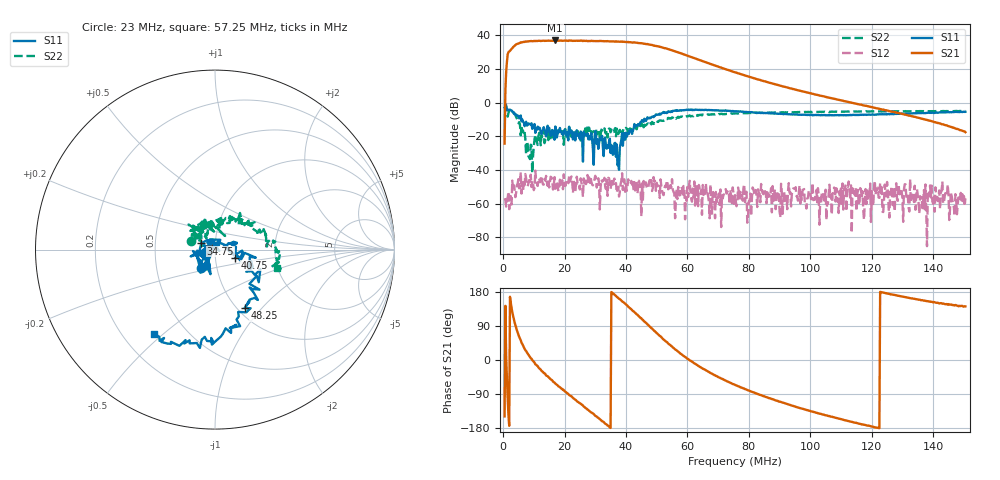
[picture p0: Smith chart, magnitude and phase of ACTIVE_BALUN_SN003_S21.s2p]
!Keysight Technologies N9926A: A.10.18
!Date: Monday, 29 June 2020 21:08:31
!Timezone:
!Model: N9926A
!Serial: MY57271140
!GPS Latitude:
!GPS Longitude:
!GPS TimeStamp: 0001-01-01 00:00:00Z
!GPS Seconds Since Last Read: 0
!CHECKSUM:1437879208
!Correction: S11(ON U)S21(ON U)S12(ON U)S22(ON U)
!S2P File: Measurements:S11,S21,S12,S22:
# Hz S DB R 50
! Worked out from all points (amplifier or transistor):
!   601 points, 500 kHz to 150.5 MHz, reference 50 ohm
!   highest |S21| = 37.0 dB at 17 MHz (marker M1)
!   |S21| within 3 dB of that: 3.821 MHz to 48.94 MHz (45.12 MHz wide, 171 % of centre)
!   unconditionally stable (mu >= 1): start of sweep to end of sweep
!   at 25.5 MHz: K = 1.76, MAG = 37.0 dB, |S12| = -47.2 dB
!   at 75.5 MHz: K = 18.91, MAG = 20.7 dB, |S12| = -55.0 dB
!   at 150.5 MHz: K = 1287.98, MAG = -14.4 dB, |S12| = -56.9 dB
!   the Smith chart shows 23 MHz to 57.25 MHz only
!   S11 on the Smith chart (normalised r, x): 23 MHz: 0.83, -0.18; 34.75 MHz: 0.85, +0.06; 40.75 MHz: 1.25, -0.11; 48.25 MHz: 1.08, -0.81; 57.25 MHz: 0.33, -0.47
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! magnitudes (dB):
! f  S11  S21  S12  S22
! 500 kHz  -2.9  -24.3  -56.8  -0.4
! 1.5 MHz  -4.3  28.7  -56.5  -8.3
! 2.25 MHz  -4.1  30.8  -55.5  -4.6
! 9 MHz  -13.1  36.6  -42.8  -24.9
! 11 MHz  -16.1  36.7  -46.3  -23.3
! 17 MHz  -14.2  37.0  -51.2  -14.4
! 23 MHz  -17.6  36.8  -46.3  -16.9
! 25.5 MHz  -18.8  36.9  -47.2  -20.5
! 34.75 MHz  -21.4  36.4  -47.9  -15.5
! 37.5 MHz  -35.9  36.3  -50.0  -18.7
! 40.75 MHz  -18.4  36.1  -45.6  -18.6
! 48.25 MHz  -8.7  34.3  -46.0  -12.9
! 50.5 MHz  -7.0  33.4  -49.3  -11.4
! 57.25 MHz  -4.8  29.7  -51.7  -8.9
! 75.5 MHz  -5.1  18.1  -55.0  -6.4
! 78.5 MHz  -5.6  16.3  -48.4  -6.2
! 80.25 MHz  -5.7  15.4  -58.9  -6.1
! 84.75 MHz  -6.2  12.9  -54.4  -6.0
! 89.5 MHz  -6.6  10.5  -52.7  -5.9
! 100.5 MHz  -7.3  5.4  -55.0  -5.6
! 125.5 MHz  -6.7  -4.9  -62.1  -5.2
! 150.5 MHz  -5.4  -17.5  -56.9  -5.0
